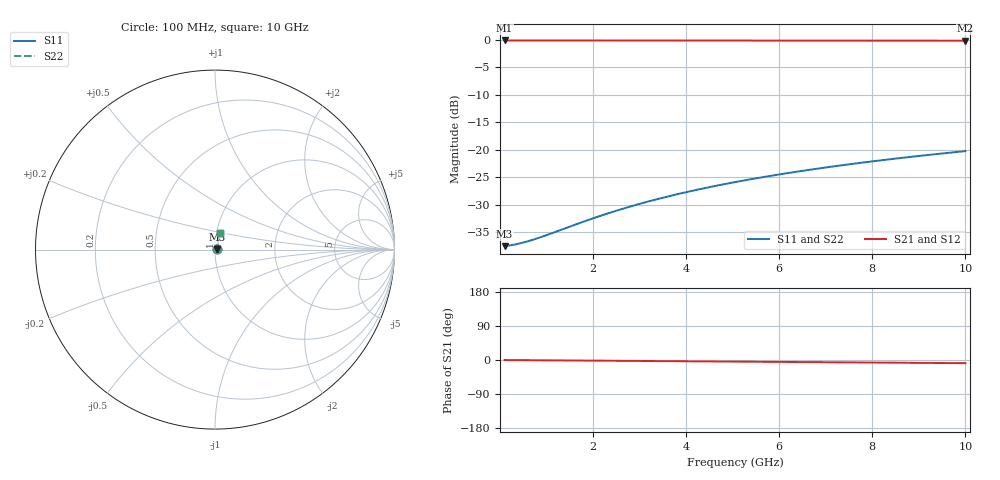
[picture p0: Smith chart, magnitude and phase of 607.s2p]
# Hz S RI R 50.00
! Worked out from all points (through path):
!   100 points, 100 MHz to 10 GHz, reference 50 ohm
!   highest |S21| = -0.12 dB at 100 MHz (marker M1); lowest = -0.2 dB at 10 GHz (marker M2)
!   group delay of S21, straight-line fit = 2.33 ps
!   lowest |S11| = -37.5 dB at 100 MHz (marker M3), VSWR 1.03, Z = 51.3 + j0.0976 ohm
!   |S11| at or under -10 dB: start of sweep to end of sweep
!   |S22| runs from -37.5 to -20.2 dB; largest |S21 - S12| = 0
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1e8  0.0133 0.00095  0.9867 -0.00145  0.9867 -0.00145  0.0133 0.00095
3e8  0.0134 0.00285  0.9866 -0.00434  0.9866 -0.00434  0.0134 0.00285
4e8  0.0135 0.0038  0.9865 -0.00579  0.9865 -0.00579  0.0135 0.0038
5e8  0.0135 0.00475  0.9865 -0.00724  0.9865 -0.00724  0.0135 0.00475
7e8  0.0136 0.00664  0.9863 -0.0101  0.9863 -0.0101  0.0136 0.00664
1e9  0.0138 0.00949  0.9862 -0.0145  0.9862 -0.0145  0.0138 0.00949
1.8e9  0.0143 0.0171  0.9857 -0.026  0.9857 -0.026  0.0143 0.0171
2.2e9  0.0146 0.0208  0.9854 -0.0318  0.9854 -0.0318  0.0146 0.0208
2.6e9  0.0149 0.0246  0.985 -0.0376  0.985 -0.0376  0.0149 0.0246
3e9  0.0153 0.0284  0.9846 -0.0434  0.9846 -0.0434  0.0153 0.0284
3.4e9  0.0157 0.0322  0.9842 -0.0491  0.9842 -0.0491  0.0157 0.0322
3.8e9  0.0161 0.0359  0.9837 -0.0549  0.9837 -0.0549  0.0161 0.0359
4.2e9  0.0166 0.0397  0.9832 -0.0606  0.9832 -0.0606  0.0166 0.0397
4.6e9  0.0171 0.0434  0.9826 -0.0664  0.9826 -0.0664  0.0171 0.0434
5.1e9  0.0178 0.0481  0.9818 -0.0736  0.9818 -0.0736  0.0178 0.0481
5.5e9  0.0184 0.0518  0.9812 -0.0793  0.9812 -0.0793  0.0184 0.0518
5.9e9  0.0191 0.0556  0.9804 -0.085  0.9804 -0.085  0.0191 0.0556
6.7e9  0.0206 0.063  0.9788 -0.0964  0.9788 -0.0964  0.0206 0.063
7.5e9  0.0222 0.0704  0.9771 -0.1078  0.9771 -0.1078  0.0222 0.0704
8.4e9  0.0242 0.0786  0.9749 -0.1205  0.9749 -0.1205  0.0242 0.0786
9.2e9  0.0262 0.0859  0.9727 -0.1318  0.9727 -0.1318  0.0262 0.0859
1e10  0.0284 0.0931  0.9703 -0.143  0.9703 -0.143  0.0284 0.0931
